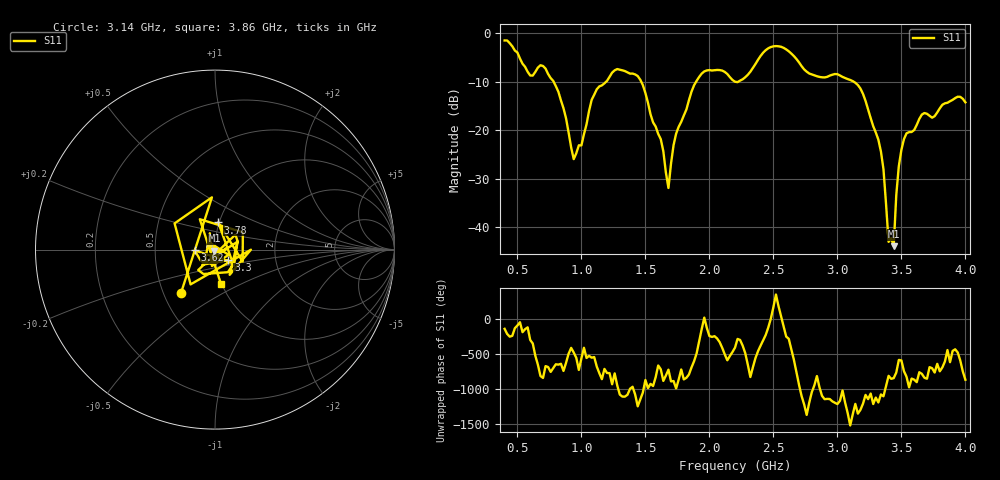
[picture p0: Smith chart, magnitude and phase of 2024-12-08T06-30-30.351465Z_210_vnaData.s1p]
!Created with skrf (http://scikit-rf.org).
# Hz S RI R 50.0
!freq ReS11 ImS11
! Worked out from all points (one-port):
!   181 points, 400 MHz to 4 GHz, reference 50 ohm
!   lowest |S11| = -43.9 dB at 3.44 GHz (marker M1), VSWR 1.01, Z = 49.7 - j0.548 ohm
!   |S11| at or under -10 dB: 782.7 MHz to 1.194 GHz (411.3 MHz wide, 41.6 % of centre); 1.467 GHz to 1.896 GHz (429.3 MHz wide, 25.5 % of centre); 3.126 GHz to end of sweep (the widest 3 of 4)
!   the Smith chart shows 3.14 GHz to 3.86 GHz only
!   S11 on the Smith chart (normalised r, x): 3.14 GHz: 0.61, -0.33; 3.3 GHz: 1.15, -0.14; 3.62 GHz: 0.80, -0.01; 3.78 GHz: 0.99, +0.31; 3.86 GHz: 0.99, -0.39
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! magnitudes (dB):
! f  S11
! 400 MHz  -1.5
! 600 MHz  -8.7
! 720 MHz  -7.3
! 860 MHz  -15.5
! 940 MHz  -26.0
! 1.12 GHz  -11.6
! 1.3 GHz  -7.5
! 1.48 GHz  -10.7
! 1.62 GHz  -21.8
! 1.68 GHz  -31.9
! 1.72 GHz  -23.1
! 1.76 GHz  -19.3
! 1.96 GHz  -7.9
! 2.2 GHz  -10.0
! 2.48 GHz  -2.9
! 2.66 GHz  -4.7
! 3.1 GHz  -9.7
! 3.14 GHz  -10.2
! 3.3 GHz  -20.5
! 3.36 GHz  -28.0
! 3.4 GHz  -43.0
! 3.44 GHz  -43.9
! 3.48 GHz  -27.4
! 3.56 GHz  -20.4
! 3.62 GHz  -18.9
! 3.78 GHz  -16.3
! 3.86 GHz  -14.3
! 4 GHz  -14.3
